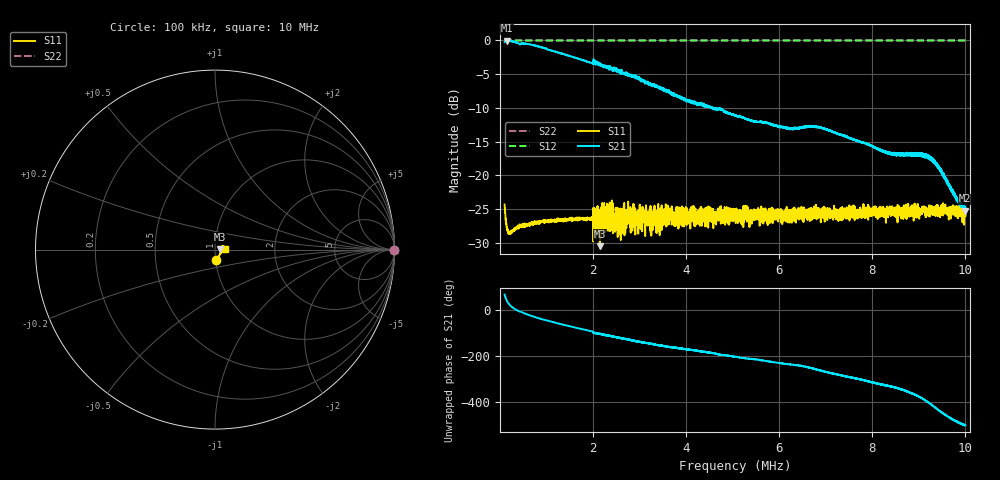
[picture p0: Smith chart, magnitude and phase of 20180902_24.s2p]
! Anritsu VNA Master:  Model: MS2026C/19
! SN:  1815009
! /card0/usr/20180902_24.s2p
! Existing Calibration Information:
! TYPE:  Current Settings,  Active Cal Settings
! TIME:  09/02/2018 06:06:24 PM,  09/02/2018 11:58:48 AM
! INTERNAL TEMP:  46.5 C,  48.8 C
! # POINTS:  4001,  4001
! START FREQ:  100.000 kHz,  100.000 kHz
! STOP FREQ:  10.000 MHz,  10.000 MHz
! SOURCE POWER:  Low,  Low
! IFBW:  500 Hz,  500 Hz
! AVG FACTOR:  5 ,  1
! REF PLANE 1:  0 mm,  0 mm
! REF PLANE 2:  0 mm,  0 mm
! CAL TYPE:  1P2P S11,S21,  1P2P S11,S21
! CAL METHOD:  SOLT,  SOLT
! CAL LINE TYPE:  Coax,  Coax
! DUT PORT 1:  N-Conn(M),  N-Conn(M)
! DUT PORT 2:  N-Conn(M),  N-Conn(M)
! CAL STATUS:  OK: Accuracy High,  --
# GHZ S RI R 50.0
! FREQ.GHZ  S11RE  S11IM  S21RE  S21IM  S12RE  S12IM  S22RE  S22IM
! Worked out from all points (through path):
!   4001 points, 100 kHz to 10 MHz, reference 50 ohm
!   highest |S21| = -0.02 dB at 142.1 kHz (marker M1); lowest = -25.3 dB at 9.993 MHz (marker M2)
!   group delay of S21, straight-line fit = 117 ns
!   lowest |S11| = -30.5 dB at 2.147 MHz (marker M3), VSWR 1.06, Z = 53.1 + j0.272 ohm
!   |S11| at or under -10 dB: start of sweep to end of sweep
!   |S22| runs from 0.0 to 0.0 dB; largest |S21 - S12| = 1.4
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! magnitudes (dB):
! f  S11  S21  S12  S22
! 100 kHz  -24.3  -0.2  0.0  0.0
! 142.1 kHz  -27.4  0.0  0.0  0.0
! 176.7 kHz  -28.2  0.0  0.0  0.0
! 223.8 kHz  -28.4  -0.1  0.0  0.0
! 711.3 kHz  -27.4  -0.7  0.0  0.0
! 1.751 MHz  -26.5  -2.9  0.0  0.0
! 2.147 MHz  -30.5  -3.5  0.0  0.0
! 2.382 MHz  -26.1  -4.2  0.0  0.0
! 2.573 MHz  -25.8  -4.5  0.0  0.0
! 2.753 MHz  -23.9  -5.0  0.0  0.0
! 3.402 MHz  -26.6  -7.0  0.0  0.0
! 3.632 MHz  -25.9  -7.4  0.0  0.0
! 5.05 MHz  -25.7  -11.1  0.0  0.0
! 6.196 MHz  -25.5  -12.9  0.0  0.0
! 6.701 MHz  -26.0  -12.8  0.0  0.0
! 8.352 MHz  -25.6  -16.8  0.0  0.0
! 9.052 MHz  -25.2  -17.2  0.0  0.0
! 9.26 MHz  -25.2  -17.7  0.0  0.0
! 9.428 MHz  -25.6  -19.0  0.0  0.0
! 9.819 MHz  -24.6  -23.3  0.0  0.0
! 9.993 MHz  -24.9  -25.3  0.0  0.0
! 10 MHz  -25.4  -25.1  0.0  0.0
